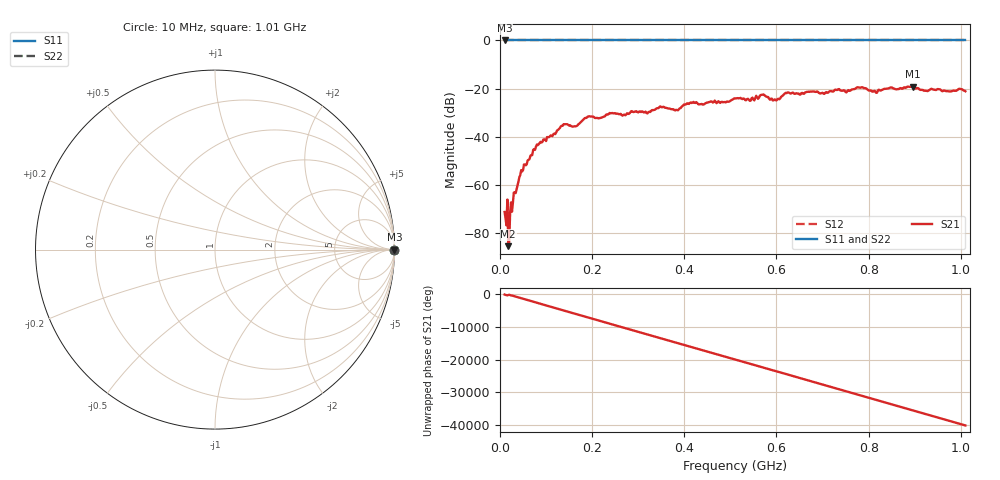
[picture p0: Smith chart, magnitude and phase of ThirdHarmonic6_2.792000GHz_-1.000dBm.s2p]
! 8/17/2025 7:13:37 AM
! C:\ANRITSUVNA\TEMP\TEMP.S2P
! CHANNEL.1
! TR.MEASUREMENT
! RAW.DATA
! RF.CORRECTION.OFF
! AVERAGING.OFF
! IF.BANDWIDTH: 5KHZ
! SWEEPTYPE:  FREQ.SWEEP(Linear)
! Reference Plane Port Info
! PORT:  PORT1  PORT2
! DISTANCE:  0  m  0  m
! TIME:  0  s  0  s
! PHASE.OFFSET:  0  deg.  0  deg.
! LOSS:  0  dB  0  dB
! REF.LOSS:  0  dB  0  dB
! REF.FREQ:  0  Hz  0  Hz
! Power Info
! POWER:  -20  dBm  -20  dBm
! EFF.POWER:  -20  dBm  -20  dBm
! SOURCE.ATTEN:  0  dB  0  dB
! TEST.ATTEN:  0  dB  0  dB
# GHZ S RI R 50.0
! FREQ.GHZ  S11RE  S11IM  S21RE  S21IM  S12RE  S12IM  S22RE  S22IM
!; PortSelection: Port_12
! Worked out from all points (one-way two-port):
!   501 points, 10 MHz to 1.01 GHz, reference 50 ohm
!   highest |S21| = -19.16 dB at 896 MHz (marker M1); lowest = -85.5 dB at 18 MHz (marker M2)
!   lowest |S11| = 0.0 dB at 10 MHz (marker M3)
!   |S11| at or under -10 dB: nowhere
!   |S22| runs from 0.0 to 0.0 dB; largest |S21 - S12| = 1.1
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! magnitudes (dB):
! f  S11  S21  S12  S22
! 10 MHz  0.0  -71.3  0.0  0.0
! 12 MHz  0.0  -73.9  0.0  0.0
! 16 MHz  0.0  -66.1  0.0  0.0
! 18 MHz  0.0  -85.5  0.0  0.0
! 22 MHz  0.0  -71.5  0.0  0.0
! 28 MHz  0.0  -67.4  0.0  0.0
! 44 MHz  0.0  -56.0  0.0  0.0
! 76 MHz  0.0  -45.5  0.0  0.0
! 136 MHz  0.0  -35.5  0.0  0.0
! 162 MHz  0.0  -35.7  0.0  0.0
! 178 MHz  0.0  -33.4  0.0  0.0
! 344 MHz  0.0  -28.1  0.0  0.0
! 382 MHz  0.0  -28.8  0.0  0.0
! 416 MHz  0.0  -26.0  0.0  0.0
! 510 MHz  0.0  -24.1  0.0  0.0
! 570 MHz  0.0  -22.5  0.0  0.0
! 596 MHz  0.0  -24.5  0.0  0.0
! 622 MHz  0.0  -21.9  0.0  0.0
! 678 MHz  0.0  -21.2  0.0  0.0
! 844 MHz  0.0  -19.9  0.0  0.0
! 896 MHz  0.0  -19.2  0.0  0.0
! 1.01 GHz  0.0  -21.1  0.0  0.0
